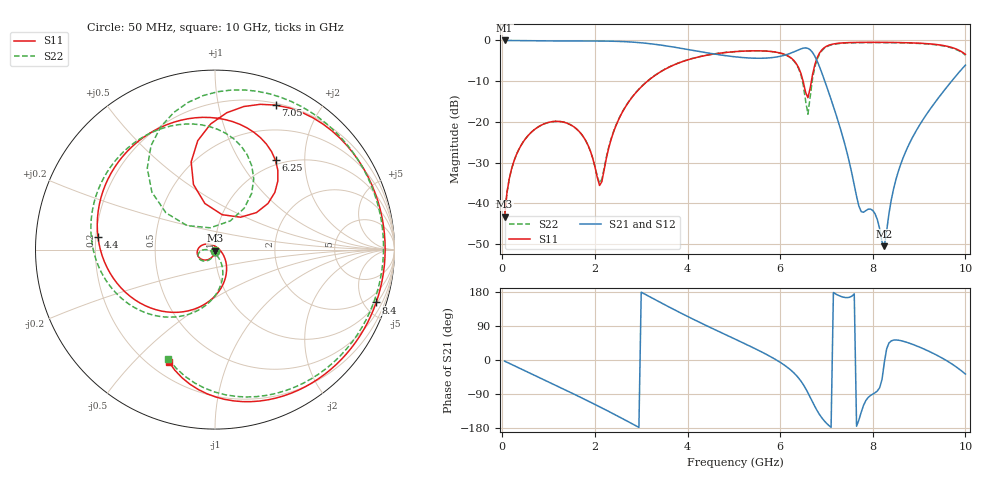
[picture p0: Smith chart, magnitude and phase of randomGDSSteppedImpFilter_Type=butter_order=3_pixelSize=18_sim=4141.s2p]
! freq	dB(S11)	phase(S11)	dB(S12)	phase(S12)
!  dB(S21)	phase(S21)	dB(S22)	phase(S22)
!S-par simulation data
#  GHz  S  DB  R 50
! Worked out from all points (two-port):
!   200 points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, 50 MHz to 10 GHz, reference 50 ohm
!   highest |S21| = -0.01 dB at 50 MHz (marker M1); lowest = -50.5 dB at 8.25 GHz (marker M2)
!   |S21| within 3 dB of the highest: start of sweep to 4.402 GHz; 6.255 GHz to 6.702 GHz (447.9 MHz wide, 6.91 % of centre)
!   lowest |S11| = -43.3 dB at 50 MHz (marker M3), VSWR 1.01, Z = 50 - j0.685 ohm
!   |S11| at or under -10 dB: start of sweep to 3.135 GHz; 6.496 GHz to 6.675 GHz (178.9 MHz wide, 2.72 % of centre)
!   |S22| runs from -43.3 to -0.5 dB; largest |S21 - S12| = 0
!   S11 on the Smith chart (normalised r, x): 50 MHz: 1.00, -0.01; 4.4 GHz: 0.21, +0.05; 6.25 GHz: 0.93, +1.45; 7.05 GHz: 0.22, +1.48; 8.4 GHz: 1.10, -6.07; 10 GHz: 0.28, -0.63
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0.05  -43.29 -91.0  -0.01 -3.0  -0.01 -3.0  -43.28 -90.4
0.25  -29.68 -105.2  -0.03 -14.6  -0.03 -14.6  -29.67 -103.4
0.6  -22.84 -127.7  -0.07 -34.9  -0.07 -34.9  -22.83 -123.0
1.75  -23.64 153.5  -0.14 -102.0  -0.14 -102.0  -23.66 -178.7
2.1  -35.60 64.1  -0.15 -123.3  -0.15 -123.3  -35.08 -130.3
2.6  -17.46 -61.2  -0.28 -155.0  -0.28 -155.0  -17.38 -71.2
3.4  -7.82 -120.7  -1.11 152.8  -1.11 152.8  -7.79 -115.5
4.4  -3.67 173.9  -3.00 91.2  -3.00 91.2  -3.64 -172.5
5.05  -2.73 134.9  -4.05 53.8  -4.05 53.8  -2.71 152.6
5.75  -2.66 92.2  -4.29 11.7  -4.29 11.7  -2.66 112.9
6.25  -4.42 55.9  -3.03 -28.8  -3.03 -28.8  -4.50 76.0
6.6  -14.05 78.4  -1.95 -86.5  -1.95 -86.5  -18.12 102.3
6.7  -8.36 108.3  -2.96 -110.9  -2.96 -110.9  -9.33 143.2
7.05  -1.18 67.3  -12.81 -172.6  -12.81 -172.6  -1.30 94.3
7.7  -0.48 19.4  -40.67 -158.2  -40.67 -158.2  -0.55 42.0
8.05  -0.46 -0.0  -42.57 -86.4  -42.57 -86.4  -0.52 20.1
8.25  -0.47 -10.5  -50.50 -6.3  -50.50 -6.3  -0.53 8.0
8.35  -0.48 -15.6  -42.49 44.9  -42.49 44.9  -0.54 2.0
8.4  -0.49 -18.1  -39.12 50.5  -39.12 50.5  -0.55 -1.0
8.75  -0.57 -35.8  -26.29 46.1  -26.29 46.1  -0.63 -21.9
9.4  -1.04 -70.6  -14.36 11.6  -14.36 11.6  -1.12 -63.4
10  -3.41 -112.5  -6.07 -37.1  -6.07 -37.1  -3.60 -113.2
